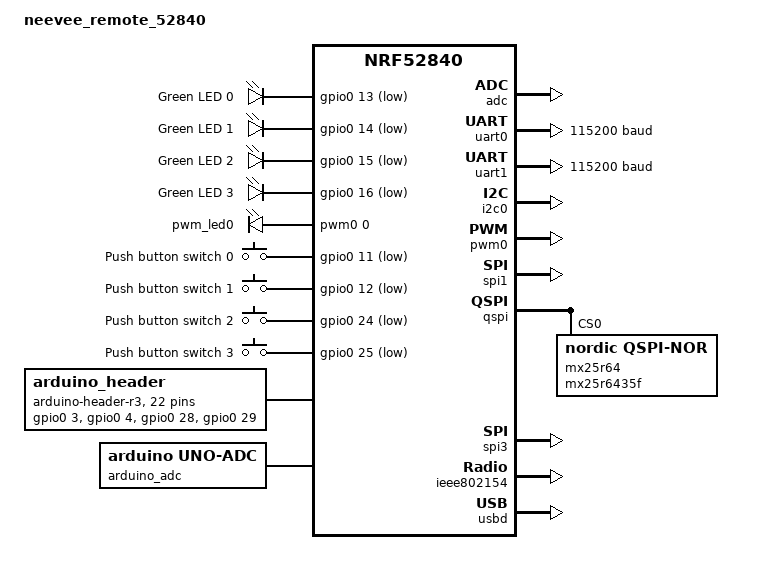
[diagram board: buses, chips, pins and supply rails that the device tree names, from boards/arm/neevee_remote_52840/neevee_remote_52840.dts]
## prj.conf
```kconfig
CONFIG_GPIO=y
CONFIG_LOG=y
CONFIG_I2C=y
CONFIG_KSCAN=y
CONFIG_CBPRINTF_FP_SUPPORT=y
# CONFIG_DT_HAS_SEMTECH_SX1508_ENABLED=y
CONFIG_KSCAN_SX1508=y
CONFIG_DK_LIBRARY=y
CONFIG_SERIAL=y

CONFIG_CLOCK_CONTROL_NRF_K32SRC_RC=y
CONFIG_CLOCK_CONTROL_NRF_K32SRC_XTAL=n
CONFIG_CLOCK_CONTROL_NRF_K32SRC_250PPM=y
```

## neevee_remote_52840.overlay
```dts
/*
 * Copyright (c) 2019 Henrik Brix Andersen <henrik@brixandersen.dk>
 *
 * SPDX-License-Identifier: Apache-2.0
 */


 &i2c0 {
    status = "okay";
	sx1508:sx1508@20 {
		compatible = "semtech,sx1508-keyscan";
		reg = <0x20>;
                /* Uncomment to use IRQ instead of polling: */
		 nint-gpios = <&gpio1 8 (GPIO_ACTIVE_HIGH)>;


	};
};

&i2c0_default {
    group1 {
        psels = <NRF_PSEL(TWIM_SDA, 0, 7)>, <NRF_PSEL(TWIM_SCL, 0, 8)>;
    };
};
```

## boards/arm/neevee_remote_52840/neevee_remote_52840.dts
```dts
// Copyright (c) 2024 Nordic Semiconductor ASA
// SPDX-License-Identifier: Apache-2.0

/dts-v1/;
#include <nordic/nrf52840_qiaa.dtsi>
#include "neevee_remote_52840-pinctrl.dtsi"
#include <zephyr/dt-bindings/input/input-event-codes.h>

/ {
	model = "neevee_remote_52840";
	compatible = "neevee-tech,neevee-remote-52840";

	chosen {
		zephyr,console = &uart0;
		zephyr,shell-uart = &uart0;
		zephyr,uart-mcumgr = &uart0;
		zephyr,bt-mon-uart = &uart0;
		zephyr,bt-c2h-uart = &uart0;
		zephyr,sram = &sram0;
		zephyr,flash = &flash0;
		zephyr,code-partition = &slot0_partition;
		zephyr,ieee802154 = &ieee802154;
	};

	
	leds {
		compatible = "gpio-leds";
		led0: led_0 {
			gpios = <&gpio0 13 GPIO_ACTIVE_LOW>;
			label = "Green LED 0";
		};
		led1: led_1 {
			gpios = <&gpio0 14 GPIO_ACTIVE_LOW>;
			label = "Green LED 1";
		};
		led2: led_2 {
			gpios = <&gpio0 15 GPIO_ACTIVE_LOW>;
			label = "Green LED 2";
		};
		led3: led_3 {
			gpios = <&gpio0 16 GPIO_ACTIVE_LOW>;
			label = "Green LED 3";
		};
	};

	pwmleds {
		compatible = "pwm-leds";
		pwm_led0: pwm_led_0 {
			pwms = <&pwm0 0 PWM_MSEC(20) PWM_POLARITY_INVERTED>;
		};
	};

	buttons {
		compatible = "gpio-keys";
		button0: button_0 {
			gpios = <&gpio0 11 (GPIO_PULL_UP | GPIO_ACTIVE_LOW)>;
			label = "Push button switch 0";
			zephyr,code = <INPUT_KEY_0>;
		};
		button1: button_1 {
			gpios = <&gpio0 12 (GPIO_PULL_UP | GPIO_ACTIVE_LOW)>;
			label = "Push button switch 1";
			zephyr,code = <INPUT_KEY_1>;
		};
		button2: button_2 {
			gpios = <&gpio0 24 (GPIO_PULL_UP | GPIO_ACTIVE_LOW)>;
			label = "Push button switch 2";
			zephyr,code = <INPUT_KEY_2>;
		};
		button3: button_3 {
			gpios = <&gpio0 25 (GPIO_PULL_UP | GPIO_ACTIVE_LOW)>;
			label = "Push button switch 3";
			zephyr,code = <INPUT_KEY_3>;
		};
	};

	arduino_header: connector {
		compatible = "arduino-header-r3";
		#gpio-cells = <2>;
		gpio-map-mask = <0xffffffff 0xffffffc0>;
		gpio-map-pass-thru = <0 0x3f>;
		gpio-map = <0 0 &gpio0 3 0>,	/* A0 */
			   <1 0 &gpio0 4 0>,	/* A1 */
			   <2 0 &gpio0 28 0>,	/* A2 */
			   <3 0 &gpio0 29 0>,	/* A3 */
			   <4 0 &gpio0 30 0>,	/* A4 */
			   <5 0 &gpio0 31 0>,	/* A5 */
			   <6 0 &gpio1 1 0>,	/* D0 */
			   <7 0 &gpio1 2 0>,	/* D1 */
			   <8 0 &gpio1 3 0>,	/* D2 */
			   <9 0 &gpio1 4 0>,	/* D3 */
			   <10 0 &gpio1 5 0>,	/* D4 */
			   <11 0 &gpio1 6 0>,	/* D5 */
			   <12 0 &gpio1 7 0>,	/* D6 */
			   <13 0 &gpio1 8 0>,	/* D7 */
			   <14 0 &gpio1 10 0>,	/* D8 */
			   <15 0 &gpio1 11 0>,	/* D9 */
			   <16 0 &gpio1 12 0>,	/* D10 */
			   <17 0 &gpio1 13 0>,	/* D11 */
			   <18 0 &gpio1 14 0>,	/* D12 */
			   <19 0 &gpio1 15 0>,	/* D13 */
			   <20 0 &gpio0 26 0>,	/* D14 */
			   <21 0 &gpio0 27 0>;	/* D15 */
	};

	arduino_adc: analog-connector {
		compatible = "arduino,uno-adc";
		#io-channel-cells = <1>;
		io-channel-map = <0 &adc 1>,	/* A0 = P0.3 = AIN1 */
				 <1 &adc 2>,	/* A1 = P0.4 = AIN2 */
				 <2 &adc 4>,	/* A2 = P0.28 = AIN4 */
				 <3 &adc 5>,	/* A3 = P0.29 = AIN5 */
				 <4 &adc 6>,	/* A4 = P0.30 = AIN6 */
				 <5 &adc 7>;	/* A5 = P0.31 = AIN7 */
	};


    /* These aliases are provided for compatibility with samples */
	aliases {
		led0 = &led0;
		led1 = &led1;
		led2 = &led2;
		led3 = &led3;
		pwm-led0 = &pwm_led0;
		sw0 = &button0;
		sw1 = &button1;
		sw2 = &button2;
		sw3 = &button3;
		bootloader-led0 = &led0;
		mcuboot-button0 = &button0;
		mcuboot-led0 = &led0;
		watchdog0 = &wdt0;
		spi-flash0 = &mx25r64;
	};
};

&adc {
	status = "okay";
};

&uicr {
	gpio-as-nreset;
};

&gpiote {
	status = "okay";
};

&gpio0 {
	status = "okay";
};

&gpio1 {
	status = "okay";
};

&uart0 {
	compatible = "nordic,nrf-uarte";
	status = "okay";
	current-speed = <115200>;
	pinctrl-0 = <&uart0_default>;
	pinctrl-1 = <&uart0_sleep>;
	pinctrl-names = "default", "sleep";
};

arduino_serial: &uart1 {
	current-speed = <115200>;
	pinctrl-0 = <&uart1_default>;
	pinctrl-1 = <&uart1_sleep>;
	pinctrl-names = "default", "sleep";
};

arduino_i2c: &i2c0 {
	compatible = "nordic,nrf-twi";
	status = "okay";
	pinctrl-0 = <&i2c0_default>;
	pinctrl-1 = <&i2c0_sleep>;
	pinctrl-names = "default", "sleep";
};

&i2c1 {
	compatible = "nordic,nrf-twi";
	/* Cannot be used together with spi1. */
	/* status = "okay"; */
	pinctrl-0 = <&i2c1_default>;
	pinctrl-1 = <&i2c1_sleep>;
	pinctrl-names = "default", "sleep";
};

&pwm0 {
	status = "okay";
	pinctrl-0 = <&pwm0_default>;
	pinctrl-1 = <&pwm0_sleep>;
	pinctrl-names = "default", "sleep";
};

&spi0 {
	compatible = "nordic,nrf-spi";
	/* Cannot be used together with i2c0. */
	/* status = "okay"; */
	pinctrl-0 = <&spi0_default>;
	pinctrl-1 = <&spi0_sleep>;
	pinctrl-names = "default", "sleep";
};

&spi1 {
	compatible = "nordic,nrf-spi";
	status = "okay";
	pinctrl-0 = <&spi1_default>;
	pinctrl-1 = <&spi1_sleep>;
	pinctrl-names = "default", "sleep";
};

&spi2 {
	compatible = "nordic,nrf-spi";
	status = "disabled";
	pinctrl-0 = <&spi2_default>;
	pinctrl-1 = <&spi2_sleep>;
	pinctrl-names = "default", "sleep";
};

&qspi {
	status = "okay";
	pinctrl-0 = <&qspi_default>;
	pinctrl-1 = <&qspi_sleep>;
	pinctrl-names = "default", "sleep";
	mx25r64: mx25r6435f@0 {
		compatible = "nordic,qspi-nor";
		reg = <0>;
		/* MX25R64 supports only pp and pp4io */
		writeoc = "pp4io";
		/* MX25R64 supports all readoc options */
		readoc = "read4io";
		sck-frequency = <8000000>;
		jedec-id = [c2 28 17];
		sfdp-bfp = [
			e5 20 f1 ff  ff ff ff 03  44 eb 08 6b  08 3b 04 bb
			ee ff ff ff  ff ff 00 ff  ff ff 00 ff  0c 20 0f 52
			10 d8 00 ff  23 72 f5 00  82 ed 04 cc  44 83 68 44
			30 b0 30 b0  f7 c4 d5 5c  00 be 29 ff  f0 d0 ff ff
		];
		size = <67108864>;
		has-dpd;
		t-enter-dpd = <10000>;
		t-exit-dpd = <35000>;
	};
};

arduino_spi: &spi3 {
	status = "okay";
	cs-gpios = <&arduino_header 16 GPIO_ACTIVE_LOW>; /* D10 */
	pinctrl-0 = <&spi3_default>;
	pinctrl-1 = <&spi3_sleep>;
	pinctrl-names = "default", "sleep";
};

&ieee802154 {
	status = "okay";
};

&flash0 {

	partitions {
		compatible = "fixed-partitions";
		#address-cells = <1>;
		#size-cells = <1>;

		boot_partition: partition@0 {
			label = "mcuboot";
			reg = <0x00000000 0x0000C000>;
		};
		slot0_partition: partition@c000 {
			label = "image-0";
			reg = <0x0000C000 0x00076000>;
		};
		slot1_partition: partition@82000 {
			label = "image-1";
			reg = <0x00082000 0x00076000>;
		};

		/*
		 * The flash starting at 0x000f8000 and ending at
		 * 0x000fffff is reserved for use by the application.
		 */

		/*
		 * Storage partition will be used by FCB/LittleFS/NVS
		 * if enabled.
		 */
		storage_partition: partition@f8000 {
			label = "storage";
			reg = <0x000f8000 0x00008000>;
		};
	};
};

zephyr_udc0: &usbd {
	compatible = "nordic,nrf-usbd";
	status = "okay";
};
```

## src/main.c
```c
/*
 * Copyright (c) 2019 Intel Corporation
 *
 * SPDX-License-Identifier: Apache-2.0
 */
#include <zephyr/drivers/gpio.h>
#include <zephyr/drivers/i2c.h>
#include <zephyr/kernel.h>
#include <zephyr/sys/printk.h>
#include <zephyr/device.h>
#include <zephyr/devicetree.h>
#include <soc.h>
#include <zephyr/drivers/sensor.h>
#include <zephyr/drivers/kscan.h>
#include <zephyr/logging/log.h>
#include <zephyr/drivers/kscan_sx1508.h>

#define LOG_LEVEL LOG_LEVEL_DBG

LOG_MODULE_REGISTER(main, CONFIG_LOG_DEFAULT_LEVEL);

#define I2C0_NODE DT_NODELABEL(sx1508)

static const struct i2c_dt_spec i2c_node = I2C_DT_SPEC_GET(I2C0_NODE);

static struct device *dev = DEVICE_DT_GET(DT_NODELABEL(sx1508));

#define key_press_detect DT_NODELABEL(sx1508)

static const struct gpio_dt_spec irq = GPIO_DT_SPEC_GET(key_press_detect, nint_gpios);



void keyscan_callback(const struct device *dev, uint32_t row,
					  uint32_t column, bool pressed)
{
	printk("button pressed\n");

	printk("row %d, col %d, pressed %d\n",row ,column, pressed);
}

int main()
{
	int err;

	if (!device_is_ready(i2c_node.bus))
	{
		printk("I2C bus %s is not ready! \n\r", i2c_node.bus->name);
	}

	if (!device_is_ready(irq.port))
	{
		printf("pin is not ready\n");
	}

     err = kscan_config(dev, keyscan_callback);
	 if (err)
	{
		printk("Failed to add keyscan callback err %d\n", err);
	}

}
```
